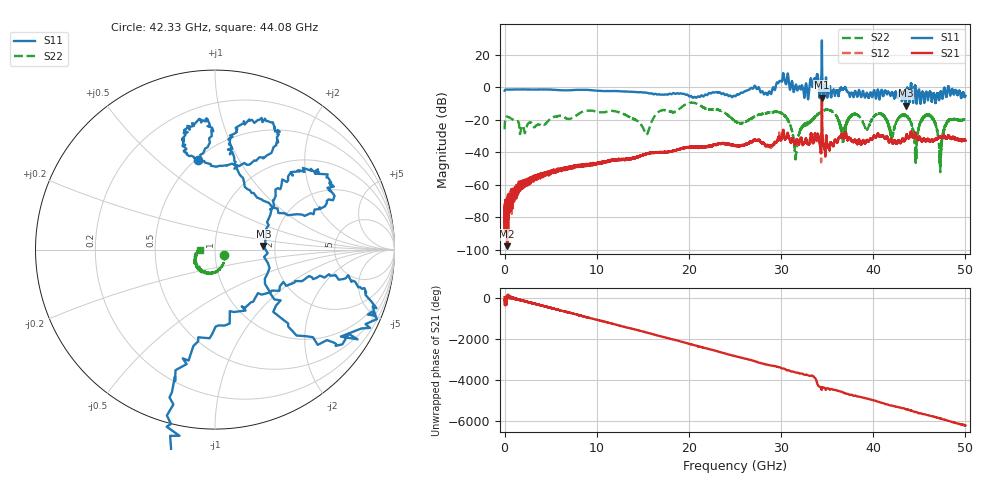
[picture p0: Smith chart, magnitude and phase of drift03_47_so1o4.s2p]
!Created with skrf (http://scikit-rf.org).
# Hz S RI R 50.0
!freq ReS11 ImS11 ReS21 ImS21 ReS12 ImS12 ReS22 ImS22
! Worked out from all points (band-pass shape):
!   10000 points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, 5.3 MHz to 50 GHz, reference 50 ohm
!   highest |S21| = -6.30 dB at 34.43 GHz (marker M1); lowest = -97.7 dB at 295.3 MHz (marker M2)
!   |S21| within 3 dB of the highest: 34.42749 GHz to 34.4348 GHz (7.301 MHz wide, 0.0212 % of centre)
!   lowest |S11| = -11.4 dB at 43.52 GHz (marker M3), VSWR 1.74, Z = 86.8 + j3.68 ohm
!   |S11| at or under -10 dB: 43.49273 GHz to 43.53861 GHz (45.88 MHz wide, 0.105 % of centre); 44.70861 GHz to 44.71117 GHz (2.56 MHz wide, 0.00573 % of centre); 45.13884 GHz to 45.14067 GHz (1.829 MHz wide, 0.00405 % of centre)
!   |S22| runs from -52.2 to -9.4 dB; largest |S21 - S12| = 0.14
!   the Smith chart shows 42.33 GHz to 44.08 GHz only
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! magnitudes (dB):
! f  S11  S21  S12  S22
! 5.3 MHz  -2.1  -79.2  -86.8  -25.8
! 295.3 MHz  -1.4  -97.7  -71.6  -18.1
! 2.535 GHz  -1.4  -60.0  -57.9  -22.6
! 8.34 GHz  -1.5  -48.5  -48.4  -15.3
! 15.39 GHz  -3.5  -41.1  -40.8  -28.8
! 16.67 GHz  -4.4  -40.0  -40.1  -15.3
! 20.45 GHz  -6.5  -37.1  -36.8  -9.5
! 25.01 GHz  -5.5  -35.7  -36.0  -20.9
! 29.94 GHz  3.9  -32.5  -31.7  -15.6
! 31.6 GHz  1.6  -33.5  -33.9  -43.8
! 33.34 GHz  2.5  -30.2  -30.7  -20.1
! 34.43 GHz  28.8  -6.3  -8.2  -14.5
! 36.69 GHz  -1.3  -29.7  -29.8  -25.4
! 37.94 GHz  -4.5  -32.8  -32.8  -16.5
! 41.67 GHz  -3.0  -33.2  -33.4  -22.5
! 43.52 GHz  -11.4  -31.4  -31.5  -17.6
! 44.62 GHz  -2.4  -29.1  -29.5  -44.8
! 45.27 GHz  -3.9  -33.1  -33.3  -20.2
! 46.27 GHz  -5.2  -32.9  -32.7  -18.0
! 47.29 GHz  -3.1  -31.0  -30.8  -49.4
! 48.11 GHz  0.2  -30.3  -30.1  -21.0
! 50 GHz  -5.3  -32.9  -32.6  -19.6
